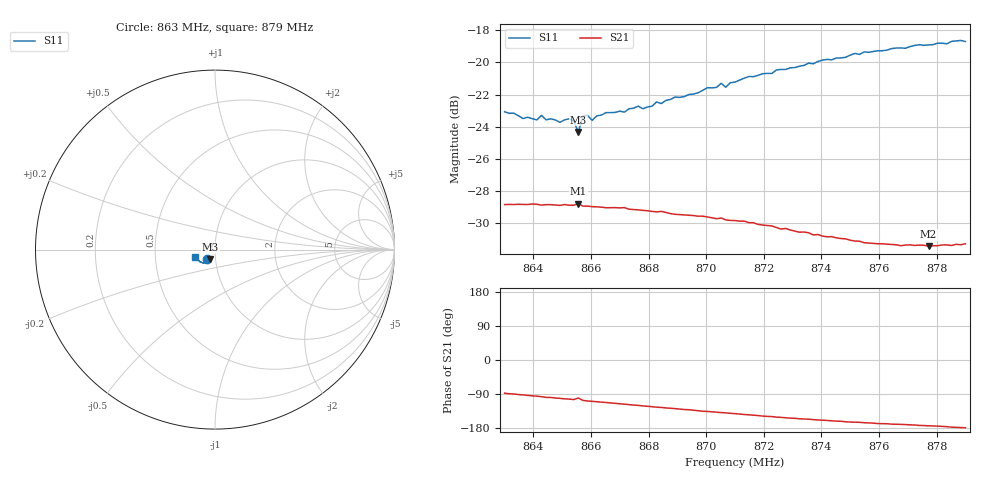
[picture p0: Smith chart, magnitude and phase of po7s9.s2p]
# HZ S RI R 50
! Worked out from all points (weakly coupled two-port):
!   101 points, 863 MHz to 879 MHz, reference 50 ohm
!   highest |S21| = -28.77 dB at 865.56 MHz (marker M1); lowest = -31.4 dB at 877.72 MHz (marker M2)
!   lowest |S11| = -24.3 dB at 865.56 MHz (marker M3), VSWR 1.13, Z = 47.2 - j5.19 ohm
!   |S11| at or under -10 dB: start of sweep to end of sweep
!   S12 and S22 are empty: the file has one direction only
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8.63e8  -0.0443 -0.0545  0.00157 -0.0361  0 0  0 0
8.6364e8  -0.0392 -0.0542  -0.00129 -0.0362  0 0  0 0
8.6412e8  -0.0383 -0.054  -0.0034 -0.0361  0 0  0 0
8.6428e8  -0.0393 -0.056  -0.00428 -0.0358  0 0  0 0
8.6444e8  -0.0385 -0.0539  -0.00544 -0.0357  0 0  0 0
8.6492e8  -0.0351 -0.0549  -0.00697 -0.0353  0 0  0 0
8.6524e8  -0.0367 -0.0558  -0.0082 -0.0351  0 0  0 0
8.654e8  -0.0343 -0.056  -0.00896 -0.0349  0 0  0 0
8.6556e8  -0.0261 -0.0548  -0.00656 -0.0358  0 0  0 0
8.6572e8  -0.0355 -0.0582  -0.0102 -0.0343  0 0  0 0
8.6588e8  -0.037 -0.0574  -0.0112 -0.034  0 0  0 0
8.6604e8  -0.0339 -0.0567  -0.0116 -0.0337  0 0  0 0
8.6652e8  -0.0352 -0.0602  -0.0133 -0.0328  0 0  0 0
8.6844e8  -0.0362 -0.065  -0.0199 -0.0281  0 0  0 0
8.7036e8  -0.0437 -0.0713  -0.0242 -0.022  0 0  0 0
8.7052e8  -0.046 -0.0727  -0.0247 -0.0217  0 0  0 0
8.7068e8  -0.0445 -0.0708  -0.0246 -0.0211  0 0  0 0
8.71e8  -0.0468 -0.0731  -0.0253 -0.0201  0 0  0 0
8.7372e8  -0.066 -0.0737  -0.0269 -0.0112  0 0  0 0
8.7644e8  -0.0911 -0.0622  -0.0267 -0.00504  0 0  0 0
8.7772e8  -0.1003 -0.0524  -0.0267 -0.00297  0 0  0 0
8.79e8  -0.1091 -0.0393  -0.0273 -0.000593  0 0  0 0
